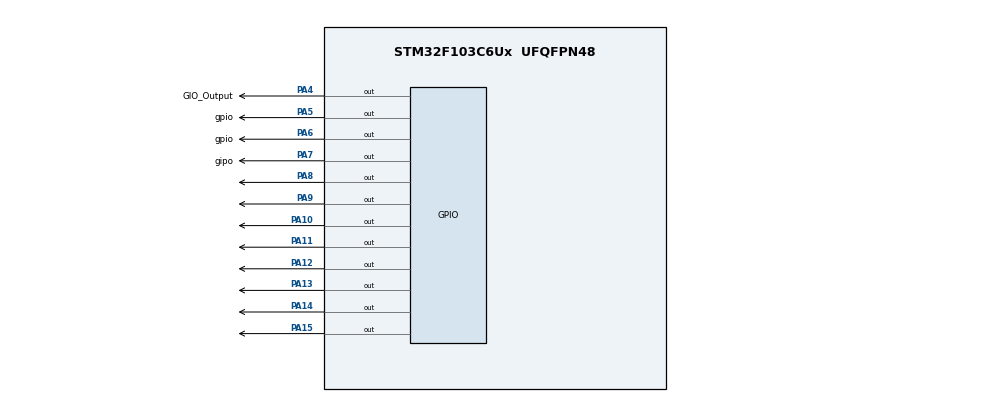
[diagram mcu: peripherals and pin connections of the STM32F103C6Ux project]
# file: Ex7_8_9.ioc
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Mcu.Family=STM32F1
Mcu.Name=STM32F103C6Ux
Mcu.Package=UFQFPN48
NVIC.PriorityGroup=NVIC_PRIORITYGROUP_4
PA10.Signal=GPIO_Output
PA11.Signal=GPIO_Output
PA12.Signal=GPIO_Output
PA13.Signal=GPIO_Output
PA14.Signal=GPIO_Output
PA15.Signal=GPIO_Output
PA4.GPIO_Label=GIO_Output
PA4.Signal=GPIO_Output
PA5.GPIO_Label=gpio
PA5.Signal=GPIO_Output
PA6.GPIO_Label=gpio
PA6.Signal=GPIO_Output
PA7.GPIO_Label=gipo
PA7.Signal=GPIO_Output
PA8.Signal=GPIO_Output
PA9.Signal=GPIO_Output
ProjectManager.HeapSize=0x200
ProjectManager.StackSize=0x400
ProjectManager.TargetToolchain=STM32CubeIDE
RCC.APB1Freq_Value=8000000
RCC.APB2Freq_Value=8000000
VP_SYS_VS_ND.Mode=No_Debug
board=custom

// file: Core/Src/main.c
/* USER CODE BEGIN Header */
/**
  ******************************************************************************
  * @file           : main.c
  * @brief          : Main program body
  ******************************************************************************
  * @attention
  *
  * <h2><center>&copy; Copyright (c) 2026 STMicroelectronics.
  * All rights reserved.</center></h2>
  *
  * This software component is licensed by ST under BSD 3-Clause license,
  * the "License"; You may not use this file except in compliance with the
  * License. You may obtain a copy of the License at:
  *                        opensource.org/licenses/BSD-3-Clause
  *
  ******************************************************************************
  */
/* USER CODE END Header */
#include "main.h"

/* USER CODE BEGIN PV */
const uint16_t CLOCK_PINS[12] = {
    GPIO_PIN_4,  // 12 h
    GPIO_PIN_5,  // 1 h
    GPIO_PIN_6,  // 2 h
    GPIO_PIN_7,  // 3 h
    GPIO_PIN_8,  // 4 h
    GPIO_PIN_9,  // 5 h
    GPIO_PIN_10, // 6 h
    GPIO_PIN_11, // 7 h
    GPIO_PIN_12, // 8 h
    GPIO_PIN_13, // 9 h
    GPIO_PIN_14, // 10 h
    GPIO_PIN_15  // 11 h
};
/* USER CODE END PV */

void SystemClock_Config(void);
static void MX_GPIO_Init(void);
/* USER CODE BEGIN PFP */
void clearAllClock(void);
void setNumberOnClock(int num);
void clearNumberOnClock(int num);
/* USER CODE END PFP */

int main(void)
{

  /* MCU Configuration--------------------------------------------------------*/

  /* Reset of all peripherals, Initializes the Flash interface and the Systick. */
  HAL_Init();

  /* Configure the system clock */
  SystemClock_Config();

  /* Initialize all configured peripherals */
  MX_GPIO_Init();

  /* Infinite loop */
  while (1)
    {

      /* USER CODE BEGIN 3 */
      // Test Ex8: Bật dần từng đèn từ 0 đến 11
      clearAllClock();
      for (int i = 0; i < 12; i++) {
          setNumberOnClock(i);
          HAL_Delay(300);
      }

      // Test Ex9: Tắt dần từng đèn từ 0 đến 11
      for (int i = 0; i < 12; i++) {
          clearNumberOnClock(i);
          HAL_Delay(300);
      }

      // Test Ex7: Bật tất cả rồi tắt sạch cùng lúc
      for (int i = 0; i < 12; i++) {
          setNumberOnClock(i);
      }
      HAL_Delay(1000);
      clearAllClock();
      HAL_Delay(1000);
    }
  /* USER CODE END 3 */
}

void SystemClock_Config(void)
{
  RCC_OscInitTypeDef RCC_OscInitStruct = {0};
  RCC_ClkInitTypeDef RCC_ClkInitStruct = {0};

  /** Initializes the RCC Oscillators according to the specified parameters
  * in the RCC_OscInitTypeDef structure.
  */
  RCC_OscInitStruct.OscillatorType = RCC_OSCILLATORTYPE_HSI;
  RCC_OscInitStruct.HSIState = RCC_HSI_ON;
  RCC_OscInitStruct.HSICalibrationValue = RCC_HSICALIBRATION_DEFAULT;
  RCC_OscInitStruct.PLL.PLLState = RCC_PLL_NONE;
  if (HAL_RCC_OscConfig(&RCC_OscInitStruct) != HAL_OK)
  {
    Error_Handler();
  }
  /** Initializes the CPU, AHB and APB buses clocks
  */
  RCC_ClkInitStruct.ClockType = RCC_CLOCKTYPE_HCLK|RCC_CLOCKTYPE_SYSCLK
                              |RCC_CLOCKTYPE_PCLK1|RCC_CLOCKTYPE_PCLK2;
  RCC_ClkInitStruct.SYSCLKSource = RCC_SYSCLKSOURCE_HSI;
  RCC_ClkInitStruct.AHBCLKDivider = RCC_SYSCLK_DIV1;
  RCC_ClkInitStruct.APB1CLKDivider = RCC_HCLK_DIV1;
  RCC_ClkInitStruct.APB2CLKDivider = RCC_HCLK_DIV1;

  if (HAL_RCC_ClockConfig(&RCC_ClkInitStruct, FLASH_LATENCY_0) != HAL_OK)
  {
    Error_Handler();
  }
}

static void MX_GPIO_Init(void)
{
  GPIO_InitTypeDef GPIO_InitStruct = {0};

  /* GPIO Ports Clock Enable */
  __HAL_RCC_GPIOA_CLK_ENABLE();

  /*Configure GPIO pin Output Level */
  HAL_GPIO_WritePin(GPIOA, GIO_Output_Pin|gpio_Pin|gpioA6_Pin|gipo_Pin
                          |GPIO_PIN_8|GPIO_PIN_9|GPIO_PIN_10|GPIO_PIN_11
                          |GPIO_PIN_12|GPIO_PIN_13|GPIO_PIN_14|GPIO_PIN_15, GPIO_PIN_RESET);

  /*Configure GPIO pins : GIO_Output_Pin gpio_Pin gpioA6_Pin gipo_Pin
                           PA8 PA9 PA10 PA11
                           PA12 PA13 PA14 PA15 */
  GPIO_InitStruct.Pin = GIO_Output_Pin|gpio_Pin|gpioA6_Pin|gipo_Pin
                          |GPIO_PIN_8|GPIO_PIN_9|GPIO_PIN_10|GPIO_PIN_11
                          |GPIO_PIN_12|GPIO_PIN_13|GPIO_PIN_14|GPIO_PIN_15;
  GPIO_InitStruct.Mode = GPIO_MODE_OUTPUT_PP;
  GPIO_InitStruct.Pull = GPIO_NOPULL;
  GPIO_InitStruct.Speed = GPIO_SPEED_FREQ_LOW;
  HAL_GPIO_Init(GPIOA, &GPIO_InitStruct);

}

/* USER CODE BEGIN 4 */
void clearAllClock(void) {
    for (int i = 0; i < 12; i++) {

        HAL_GPIO_WritePin(GPIOA, CLOCK_PINS[i], GPIO_PIN_SET);
    }
}

/**

 */
void setNumberOnClock(int num) {
    if (num >= 0 && num < 12) {

        HAL_GPIO_WritePin(GPIOA, CLOCK_PINS[num], GPIO_PIN_RESET);
    }
}

/**

 */
void clearNumberOnClock(int num) {
    if (num >= 0 && num < 12) {

        HAL_GPIO_WritePin(GPIOA, CLOCK_PINS[num], GPIO_PIN_SET);
    }
}
/* USER CODE END 4 */

void Error_Handler(void)
{
  __disable_irq();
  while (1)
  {
  }
}

/************************ (C) COPYRIGHT STMicroelectronics *****END OF FILE****/
